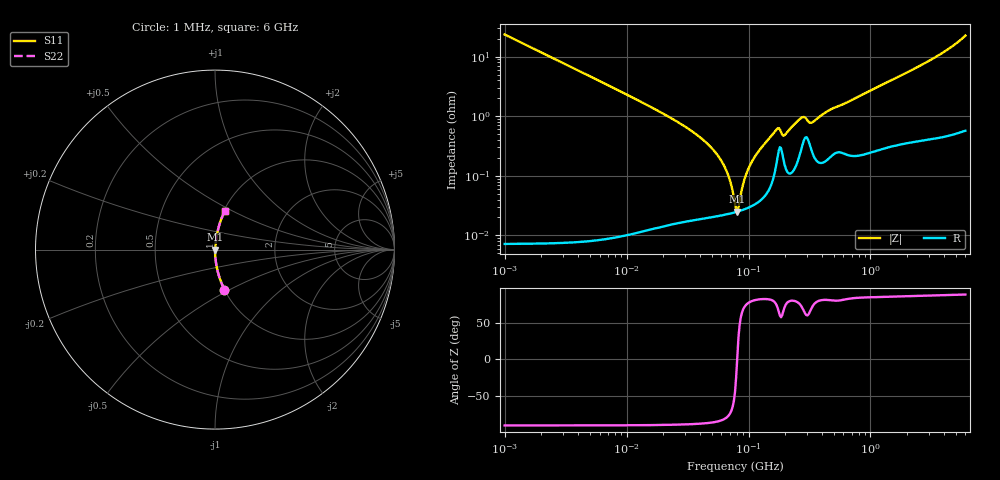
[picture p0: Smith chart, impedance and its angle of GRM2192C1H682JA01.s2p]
!Murata Part Number: GRM2192C1H682JA01
!These Parameters are Measured in Series Mode Connection
!Data Generated on Mar 30, 2021
!  o--ll--o
!Port1  Port2
!  o------o
!Operation Temp=25[degC], DC Bias Voltage=0[V]
!Freq. Start=1000[kHz] Stop=6[GHz] 401[Steps]
# Hz S RI R 50
!Freq.(Hz) S11(Real) S11(Imag) S21(Real) S21(Imag) S12(Real) S12(Imag) S22(Real) S22(Imag)
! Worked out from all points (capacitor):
!   401 points, 1 MHz to 6 GHz, reference 50 ohm
!   read as one part in series: C = 6.75 nF near 1.044 MHz
!   lowest |Z| = 25.1 mohm at 80.9 MHz (marker M1)
!   series resonance near 80.66 MHz, so ESL is about 580 pH
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1000000  0.0527 -0.2233  0.9473 0.2233  0.9473 0.2233  0.0527 -0.2233
4293785  0.00306 -0.0546  0.9969 0.0546  0.9969 0.0546  0.00306 -0.0546
1.843659e7  0.000282 -0.0121  0.9997 0.0121  0.9997 0.0121  0.000282 -0.0121
3.540316e7  0.000208 -0.00535  0.9998 0.00535  0.9998 0.00535  0.000208 -0.00535
5.236714e7  0.000212 -0.0026  0.9998 0.0026  0.9998 0.0026  0.000212 -0.0026
6.652088e7  0.000227 -0.00114  0.9998 0.00114  0.9998 0.00114  0.000227 -0.00114
7.100585e7  0.000233 -0.000752  0.9998 0.000752  0.9998 0.000752  0.000233 -0.000752
7.745967e7  0.000244 -0.000239  0.9998 0.000239  0.9998 0.000239  0.000244 -0.000239
8.090333e7  0.00025 1.78e-05  0.9998 -1.78e-05  0.9998 -1.78e-05  0.00025 1.78e-05
8.450008e7  0.000257 0.000275  0.9997 -0.000275  0.9997 -0.000275  0.000257 0.000275
9.420718e7  0.000279 0.000929  0.9997 -0.000929  0.9997 -0.000929  0.000279 0.000929
1.027698e8  0.000302 0.00147  0.9997 -0.00147  0.9997 -0.00147  0.000302 0.00147
1.196694e8  0.000365 0.00248  0.9996 -0.00248  0.9996 -0.00248  0.000365 0.00248
1.658303e8  0.00129 0.00549  0.9987 -0.00549  0.9987 -0.00549  0.00129 0.00549
1.770109e8  0.00268 0.0057  0.9973 -0.0057  0.9973 -0.0057  0.00268 0.0057
1.973453e8  0.00157 0.00454  0.9984 -0.00454  0.9984 -0.00454  0.00157 0.00454
2.794814e8  0.0036 0.00897  0.9964 -0.00897  0.9964 -0.00897  0.0036 0.00897
3.325952e8  0.00254 0.00743  0.9975 -0.00743  0.9975 -0.00743  0.00254 0.00743
4.608893e8  0.00215 0.0125  0.9979 -0.0125  0.9979 -0.0125  0.00215 0.0125
1.428092e9  0.0045 0.0383  0.9955 -0.0383  0.9955 -0.0383  0.0045 0.0383
3.408564e9  0.0136 0.0963  0.9864 -0.0963  0.9864 -0.0963  0.0136 0.0963
6e9  0.0534 0.2125  0.9466 -0.2125  0.9466 -0.2125  0.0534 0.2125
